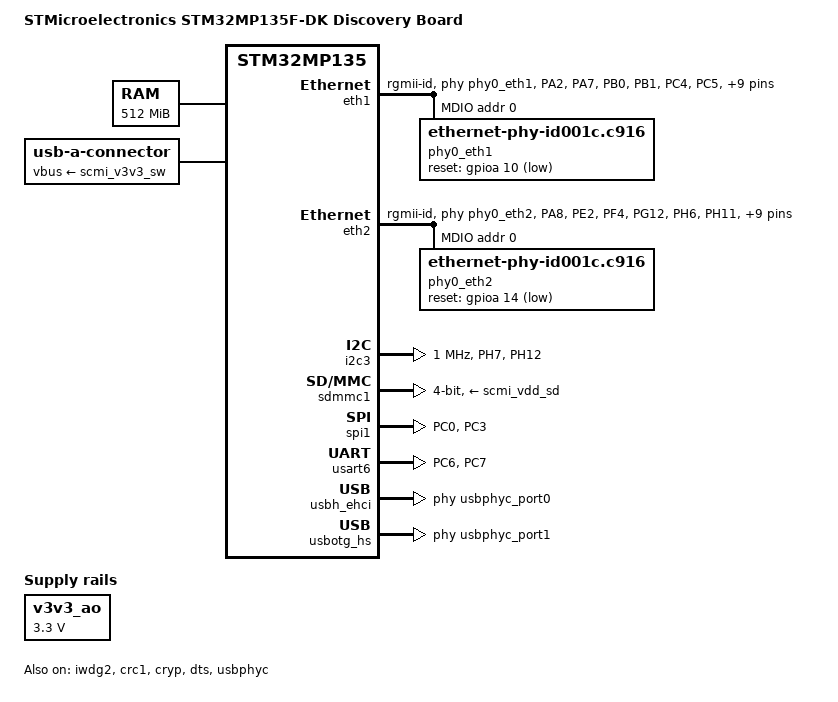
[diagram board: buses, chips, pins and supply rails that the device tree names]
// SPDX-License-Identifier: (GPL-2.0+ OR BSD-3-Clause)
/*
 * Copyright (C) STMicroelectronics 2021 - All Rights Reserved
 * Author: Alexandre Torgue <alexandre.torgue@foss.st.com> for STMicroelectronics.
 */

/dts-v1/;

#include <dt-bindings/gpio/gpio.h>
#include <dt-bindings/input/input.h>
#include <dt-bindings/leds/common.h>
#include <dt-bindings/regulator/st,stm32mp13-regulator.h>
#include <dt-bindings/rtc/rtc-stm32.h>
#include "stm32mp135.dtsi"
#include "stm32mp13xf.dtsi"
#include "stm32mp13-pinctrl.dtsi"

/ {
	model = "STMicroelectronics STM32MP135F-DK Discovery Board";
	compatible = "st,stm32mp135f-dk", "st,stm32mp135";

	aliases {
		ethernet0 = &eth1;
		ethernet1 = &eth2;
		serial0 = &usart6;
		serial1 = &usart1;
		serial2 = &uart8;
		serial3 = &usart2;

		i2c0 = &i2c3;
		spi1 = &spi1;
	};

	chosen {
		stdout-path = "serial0:115200n8";
		#address-cells = <1>;
		#size-cells = <1>;
		ranges;

		framebuffer {
			compatible = "simple-framebuffer";
			clocks = <&rcc LTDC_PX>;
			status = "okay";
		};
	};

	clocks {
	};

	memory@c0000000 {
		device_type = "memory";
		reg = <0xc0000000 0x20000000>;
	};

	reserved-memory {
		#address-cells = <1>;
		#size-cells = <1>;
		ranges;

		optee@dd000000 {
			reg = <0xdd000000 0x3000000>;
			no-map;
		};
	};

	v3v3_ao: v3v3-ao {
		compatible = "regulator-fixed";
		regulator-name = "v3v3_ao";
		regulator-min-microvolt = <3300000>;
		regulator-max-microvolt = <3300000>;
		regulator-always-on;
	};
};

&iwdg2 {
	timeout-sec = <32>;
	status = "okay";
};

&crc1 {
	status = "okay";
};

&cryp {
	status = "okay";
};

&dts {
	status = "okay";
};

&eth1 {
	status = "okay";
	pinctrl-0 = <&eth1_pins_mx>;
	pinctrl-1 = <&eth1_sleep_pins_mx>;
	pinctrl-names = "default", "sleep";
	phy-mode = "rgmii-id";
	max-speed = <100>;
	phy-handle = <&phy0_eth1>;
	nvmem-cells = <&ethernet_mac1_address>;
	nvmem-cell-names = "mac-address";

	mdio1 {
		#address-cells = <1>;
		#size-cells = <0>;
		compatible = "snps,dwmac-mdio";

		phy0_eth1: ethernet-phy@0 {
			compatible = "ethernet-phy-id001c.c916";
			reg = <0>;
			reset-assert-us = <10000>;
			reset-deassert-us = <30000>;
			reset-gpios = <&gpioa 10 GPIO_ACTIVE_LOW>;
		};
	};
};

&eth2 {
	status = "okay";
	pinctrl-0 = <&eth2_pins_mx>;
	pinctrl-1 = <&eth2_sleep_pins_mx>;
	pinctrl-names = "default", "sleep";
	phy-mode = "rgmii-id";
	max-speed = <100>;
	phy-handle = <&phy0_eth2>;
	st,ext-phyclk;
	nvmem-cells = <&ethernet_mac2_address>;
	nvmem-cell-names = "mac-address";

	mdio1 {
		#address-cells = <1>;
		#size-cells = <0>;
		compatible = "snps,dwmac-mdio";
		phy0_eth2: ethernet-phy@0 {
			compatible = "ethernet-phy-id001c.c916";
			reg = <0>;
			reset-assert-us = <10000>;
			reset-deassert-us = <30000>;
			reset-gpios = <&gpioa 14 GPIO_ACTIVE_LOW>;
		};
	};
};


&i2c3 {
	pinctrl-names = "default", "sleep";
	pinctrl-0 = <&i2c3_pins_mx>;
	pinctrl-1 = <&i2c3_sleep_pins_mx>;
	// i2c-scl-rising-time-ns = <96>;
	// i2c-scl-falling-time-ns = <3>;
	clock-frequency = <1000000>;
	status = "okay";
	// status = "disabled";
	/* spare dmas for other usage */
	/delete-property/dmas;
	/delete-property/dma-names;
};

&rtc {
	status = "disabled";
};

&scmi_regu {
	scmi_vddcpu: voltd-vddcpu {
		reg = <VOLTD_SCMI_STPMIC1_BUCK1>;
		regulator-name = "vddcpu";
	};
	scmi_vdd: voltd-vdd {
		reg = <VOLTD_SCMI_STPMIC1_BUCK3>;
		regulator-name = "vdd";
	};
	scmi_vddcore: voltd-vddcore {
		reg = <VOLTD_SCMI_STPMIC1_BUCK4>;
		regulator-name = "vddcore";
	};
	scmi_vdd_adc: voltd-vdd-adc {
		reg = <VOLTD_SCMI_STPMIC1_LDO1>;
		regulator-name = "vdd_adc";
	};
	scmi_vdd_usb: voltd-vdd-usb {
		reg = <VOLTD_SCMI_STPMIC1_LDO4>;
		regulator-name = "vdd_usb";
	};
	scmi_vdd_sd: voltd-vdd-sd {
		reg = <VOLTD_SCMI_STPMIC1_LDO5>;
		regulator-name = "vdd_sd";
	};
	scmi_v1v8_periph: voltd-v1v8-periph {
		reg = <VOLTD_SCMI_STPMIC1_LDO6>;
		regulator-name = "v1v8_periph";
	};
	scmi_v3v3_sw: voltd-v3v3-sw {
		reg = <VOLTD_SCMI_STPMIC1_PWR_SW2>;
		regulator-name = "v3v3_sw";
	};
};

&sdmmc1 {
	pinctrl-names = "default", "opendrain", "sleep";
	pinctrl-0 = <&sdmmc1_b4_pins_a &sdmmc1_clk_pins_a>;
	pinctrl-1 = <&sdmmc1_b4_od_pins_a &sdmmc1_clk_pins_a>;
	pinctrl-2 = <&sdmmc1_b4_sleep_pins_a>;
	disable-wp;
	st,neg-edge;
	bus-width = <4>;
	vmmc-supply = <&scmi_vdd_sd>;
	status = "okay";
};

/* Wifi */
// &sdmmc2 {
// 	pinctrl-names = "default", "opendrain", "sleep";
// 	pinctrl-0 = <&sdmmc2_b4_pins_a &sdmmc2_clk_pins_a>;
// 	pinctrl-1 = <&sdmmc2_b4_od_pins_a &sdmmc2_clk_pins_a>;
// 	pinctrl-2 = <&sdmmc2_b4_sleep_pins_a>;
// 	non-removable;
// 	st,neg-edge;
// 	bus-width = <4>;
// 	vmmc-supply = <&v3v3_ao>;
// 	mmc-pwrseq = <&wifi_pwrseq>;
// 	#address-cells = <1>;
// 	#size-cells = <0>;
// 	status = "disabled";

// };

&spi1 {
	pinctrl-names = "default", "sleep";
	pinctrl-0 = <&spi1_pins_mx>;
	pinctrl-1 = <&spi1_sleep_pins_mx>;
	num-cs = <1>;
	cs-gpios = <&gpioh 5 GPIO_ACTIVE_HIGH>;
	status = "okay";
};

&spi5 {
	pinctrl-names = "default", "sleep";
	pinctrl-0 = <&spi5_pins_a>;
	pinctrl-1 = <&spi5_sleep_pins_a>;
	status = "disabled";
};

&uart8 {
	pinctrl-names = "default", "sleep", "idle";
	pinctrl-0 = <&uart8_pins_a>;
	pinctrl-1 = <&uart8_sleep_pins_a>;
	pinctrl-2 = <&uart8_idle_pins_a>;
	/delete-property/dmas;
	/delete-property/dma-names;
	status = "disabled";
};

&usart6 {
	pinctrl-names = "default", "sleep", "idle";
	pinctrl-0 = <&usart6_pins_mx>;
	pinctrl-1 = <&usart6_sleep_pins_mx>;
	pinctrl-2 = <&usart6_idle_pins_mx>;
	/delete-property/dmas;
	/delete-property/dma-names;
	rx-tx-swap;
	status = "okay";

	u-boot,dm-pre-reloc;
};

&usbh_ehci {
	phys = <&usbphyc_port0>;
	status = "okay";
	#address-cells = <1>;
	#size-cells = <0>;
};

&usbotg_hs {
	phys = <&usbphyc_port1 0>;
	phy-names = "usb2-phy";
	u-boot,force-b-session-valid;
	hnp-srp-disable;
	status = "okay";
};

&usbphyc {
	status = "okay";
};

&usbphyc_port0 {
	phy-supply = <&scmi_vdd_usb>;
	st,current-boost-microamp = <1000>;
	st,decrease-hs-slew-rate;
	st,tune-hs-dc-level = <2>;
	st,enable-hs-rftime-reduction;
	st,trim-hs-current = <11>;
	st,trim-hs-impedance = <2>;
	st,tune-squelch-level = <1>;
	st,enable-hs-rx-gain-eq;
	st,no-hs-ftime-ctrl;
	st,no-lsfs-sc;

	/*
	 * Hack to keep hub active if wakeup source is enabled
	 * otherwise the hub will wakeup the port0 as soon as the v3v3_sw is disabled
	 */
	connector {
		compatible = "usb-a-connector";
		vbus-supply = <&scmi_v3v3_sw>;
	};
};

&usbphyc_port1 {
	phy-supply = <&scmi_vdd_usb>;
	st,current-boost-microamp = <1000>;
	st,decrease-hs-slew-rate;
	st,tune-hs-dc-level = <2>;
	st,enable-hs-rftime-reduction;
	st,trim-hs-current = <11>;
	st,trim-hs-impedance = <2>;
	st,tune-squelch-level = <1>;
	st,enable-hs-rx-gain-eq;
	st,no-hs-ftime-ctrl;
	st,no-lsfs-sc;
};


&pinctrl {
	eth1_pins_mx: eth1_mx-0 {
		pins1 {
			pinmux = <STM32_PINMUX('A', 2, AF11)>; /* ETH1_MDIO */
			bias-disable;
			drive-push-pull;
			slew-rate = <0>;
		};
		pins2 {
			pinmux = <STM32_PINMUX('A', 7, AF11)>, /* ETH1_RX_CTL */
					 <STM32_PINMUX('B', 0, AF11)>, /* ETH1_RXD2 */
					 <STM32_PINMUX('B', 1, AF11)>, /* ETH1_RXD3 */
					 <STM32_PINMUX('C', 4, AF11)>, /* ETH1_RXD0 */
					 <STM32_PINMUX('C', 5, AF11)>, /* ETH1_RXD1 */
					 <STM32_PINMUX('D', 7, AF10)>; /* ETH1_RX_CLK */
			bias-disable;
		};
		pins3 {
			pinmux = <STM32_PINMUX('B', 11, AF11)>, /* ETH1_TX_CTL */
					 <STM32_PINMUX('C', 1, AF11)>, /* ETH1_GTX_CLK */
					 <STM32_PINMUX('C', 2, AF11)>, /* ETH1_TXD2 */
					 <STM32_PINMUX('E', 5, AF10)>, /* ETH1_TXD3 */
					 <STM32_PINMUX('G', 2, AF11)>, /* ETH1_MDC */
					 <STM32_PINMUX('F', 12, AF11)>, /* ETH1_CLK125 */
					 <STM32_PINMUX('G', 13, AF11)>, /* ETH1_TXD0 */
					 <STM32_PINMUX('G', 14, AF11)>; /* ETH1_TXD1 */
			bias-disable;
			drive-push-pull;
			slew-rate = <2>;
		};
	};

	eth1_sleep_pins_mx: eth1_sleep_mx-0 {
		pins {
			pinmux = <STM32_PINMUX('A', 2, ANALOG)>, /* ETH1_MDIO */
					 <STM32_PINMUX('A', 7, ANALOG)>, /* ETH1_RX_CTL */
					 <STM32_PINMUX('B', 0, ANALOG)>, /* ETH1_RXD2 */
					 <STM32_PINMUX('B', 1, ANALOG)>, /* ETH1_RXD3 */
					 <STM32_PINMUX('B', 11, ANALOG)>, /* ETH1_TX_CTL */
					 <STM32_PINMUX('C', 1, ANALOG)>, /* ETH1_GTX_CLK */
					 <STM32_PINMUX('C', 2, ANALOG)>, /* ETH1_TXD2 */
					 <STM32_PINMUX('C', 4, ANALOG)>, /* ETH1_RXD0 */
					 <STM32_PINMUX('C', 5, ANALOG)>, /* ETH1_RXD1 */
					 <STM32_PINMUX('D', 7, ANALOG)>, /* ETH1_RX_CLK */
					 <STM32_PINMUX('E', 5, ANALOG)>, /* ETH1_TXD3 */
					 <STM32_PINMUX('G', 2, ANALOG)>, /* ETH1_MDC */
					 <STM32_PINMUX('F', 12, ANALOG)>, /* ETH1_CLK125 */
					 <STM32_PINMUX('G', 13, ANALOG)>, /* ETH1_TXD0 */
					 <STM32_PINMUX('G', 14, ANALOG)>; /* ETH1_TXD1 */
		};
	};

	eth2_pins_mx: eth2_mx-0 {
		pins1 {
			pinmux = <STM32_PINMUX('A', 8, AF11)>, /* ETH2_RXD3 */
					 <STM32_PINMUX('E', 2, AF10)>, /* ETH2_RXD1 */
					 <STM32_PINMUX('F', 4, AF11)>, /* ETH2_RXD0 */
					 <STM32_PINMUX('G', 12, AF12)>, /* ETH2_RX_CTL */
					 <STM32_PINMUX('H', 6, AF12)>, /* ETH2_RXD2 */
					 <STM32_PINMUX('H', 11, AF11)>; /* ETH2_RX_CLK */
			bias-disable;
		};
		pins2 {
			pinmux = <STM32_PINMUX('B', 2, AF11)>; /* ETH2_MDIO */
			bias-disable;
			drive-push-pull;
			slew-rate = <0>;
		};
		pins3 {
			pinmux = <STM32_PINMUX('E', 6, AF11)>, /* ETH2_TXD3 */
					 <STM32_PINMUX('F', 6, AF11)>, /* ETH2_TX_CTL */
					 <STM32_PINMUX('F', 7, AF11)>, /* ETH2_TXD0 */
					 <STM32_PINMUX('G', 1, AF10)>, /* ETH2_TXD2 */
					 <STM32_PINMUX('G', 3, AF10)>, /* ETH2_GTX_CLK */
					 <STM32_PINMUX('G', 5, AF10)>, /* ETH2_MDC */
					 <STM32_PINMUX('G', 11, AF10)>, /* ETH2_TXD1 */
					 <STM32_PINMUX('H', 2, AF13)>; /* ETH2_CLK125 */
			bias-disable;
			drive-push-pull;
			slew-rate = <2>;
		};
	};

	eth2_sleep_pins_mx: eth2_sleep_mx-0 {
		pins {
			pinmux = <STM32_PINMUX('A', 8, ANALOG)>, /* ETH2_RXD3 */
					 <STM32_PINMUX('B', 2, ANALOG)>, /* ETH2_MDIO */
					 <STM32_PINMUX('E', 2, ANALOG)>, /* ETH2_RXD1 */
					 <STM32_PINMUX('E', 6, ANALOG)>, /* ETH2_TXD3 */
					 <STM32_PINMUX('F', 4, ANALOG)>, /* ETH2_RXD0 */
					 <STM32_PINMUX('F', 6, ANALOG)>, /* ETH2_TX_CTL */
					 <STM32_PINMUX('F', 7, ANALOG)>, /* ETH2_TXD0 */
					 <STM32_PINMUX('G', 1, ANALOG)>, /* ETH2_TXD2 */
					 <STM32_PINMUX('G', 3, ANALOG)>, /* ETH2_GTX_CLK */
					 <STM32_PINMUX('G', 5, ANALOG)>, /* ETH2_MDC */
					 <STM32_PINMUX('H', 2, ANALOG)>, /* ETH2_CLK125 */
					 <STM32_PINMUX('G', 11, ANALOG)>, /* ETH2_TXD1 */
					 <STM32_PINMUX('G', 12, ANALOG)>, /* ETH2_RX_CTL */
					 <STM32_PINMUX('H', 6, ANALOG)>, /* ETH2_RXD2 */
					 <STM32_PINMUX('H', 11, ANALOG)>; /* ETH2_RX_CLK */
		};
	};
	
	usart6_pins_mx: usart6_mx-0 {
		u-boot,dm-pre-reloc;
		pins1 {
			u-boot,dm-pre-reloc;
			pinmux = <STM32_PINMUX('C', 6, AF7)>; /* USART6_TX */
			bias-pull-up;
		};
		pins2 {
			u-boot,dm-pre-reloc;
			pinmux = <STM32_PINMUX('C', 7, AF7)>; /* USART6_RX */
			bias-disable;
			drive-push-pull;
			slew-rate = <0>;
		};
	};

	usart6_sleep_pins_mx: usart6_sleep_mx-0 {
		pins {
			pinmux = <STM32_PINMUX('C', 6, ANALOG)>, /* USART6_TX */
					 <STM32_PINMUX('C', 7, ANALOG)>; /* USART6_RX */
		};
	};

	usart6_idle_pins_mx: usart6-idle_mx-0 {
		pins1 {
			pinmux = <STM32_PINMUX('C', 6, ANALOG)>; /* USART6_TX */
		};
		pins2 {
			pinmux = <STM32_PINMUX('C', 7, AF7)>; /* USART6_RX */
			bias-pull-up;
		};
	};


	i2c3_pins_mx: i2c3_mx-0 {
		pins {
			pinmux = <STM32_PINMUX('H', 7, AF5)>, /* I2C3_SDA */
					 <STM32_PINMUX('H', 12, AF4)>; /* I2C3_SCL */
			bias-disable;
			drive-open-drain;
			slew-rate = <0>;
		};
	};

	i2c3_sleep_pins_mx: i2c3_sleep_mx-0 {
		pins {
			pinmux = <STM32_PINMUX('H', 7, ANALOG)>, /* I2C3_SDA */
					 <STM32_PINMUX('H', 12, ANALOG)>; /* I2C3_SCL */
		};
	};

	ltdc_pins_mx: ltdc_mx-0 {
		pins1 {
			pinmux = <STM32_PINMUX('A', 12, AF14)>, /* LTDC_G6 */
					 <STM32_PINMUX('A', 15, AF11)>, /* LTDC_G7 */
					 <STM32_PINMUX('B', 3, AF14)>, /* LTDC_B2 */
					 <STM32_PINMUX('B', 5, AF13)>, /* LTDC_B6 */
					 <STM32_PINMUX('B', 6, AF14)>, /* LTDC_B7 */
					 <STM32_PINMUX('B', 9, AF14)>, /* LTDC_B1 */
					 <STM32_PINMUX('B', 12, AF13)>, /* LTDC_R3 */
					 <STM32_PINMUX('B', 14, AF13)>, /* LTDC_R0 */
					 <STM32_PINMUX('D', 1, AF14)>, /* LTDC_G2 */
					 <STM32_PINMUX('D', 4, AF11)>, /* LTDC_R1 */
					 <STM32_PINMUX('D', 5, AF13)>, /* LTDC_B0 */
					 <STM32_PINMUX('D', 9, AF11)>, /* LTDC_B5 */
					 <STM32_PINMUX('D', 10, AF9)>, /* LTDC_G5 */
					 <STM32_PINMUX('D', 13, AF14)>, /* LTDC_G4 */
					 <STM32_PINMUX('E', 1, AF11)>, /* LTDC_R4 */
					 <STM32_PINMUX('E', 7, AF14)>, /* LTDC_R5 */
					 <STM32_PINMUX('E', 12, AF9)>, /* LTDC_VSYNC */
					 <STM32_PINMUX('F', 0, AF13)>, /* LTDC_R6 */
					 <STM32_PINMUX('F', 1, AF14)>, /* LTDC_G1 */
					 <STM32_PINMUX('F', 5, AF9)>, /* LTDC_G0 */
					 <STM32_PINMUX('G', 6, AF14)>, /* LTDC_R7 */
					 <STM32_PINMUX('G', 7, AF14)>, /* LTDC_R2 */
					 <STM32_PINMUX('G', 15, AF14)>, /* LTDC_B3 */
					 <STM32_PINMUX('H', 9, AF11)>, /* LTDC_DE */
					 <STM32_PINMUX('H', 10, AF13)>, /* LTDC_HSYNC */
					 <STM32_PINMUX('H', 13, AF13)>, /* LTDC_G3 */
					 <STM32_PINMUX('H', 14, AF11)>; /* LTDC_B4 */
			bias-disable;
			drive-push-pull;
			slew-rate = <0>;
		};
		pins2 {
			pinmux = <STM32_PINMUX('B', 15, AF13)>; /* LTDC_CLK */
			bias-disable;
			drive-push-pull;
			slew-rate = <1>;
		};
	};

	ltdc_sleep_pins_mx: ltdc_sleep_mx-0 {
		pins {
			pinmux = <STM32_PINMUX('A', 12, ANALOG)>, /* LTDC_G6 */
					 <STM32_PINMUX('A', 15, ANALOG)>, /* LTDC_G7 */
					 <STM32_PINMUX('B', 3, ANALOG)>, /* LTDC_B2 */
					 <STM32_PINMUX('B', 5, ANALOG)>, /* LTDC_B6 */
					 <STM32_PINMUX('B', 6, ANALOG)>, /* LTDC_B7 */
					 <STM32_PINMUX('B', 9, ANALOG)>, /* LTDC_B1 */
					 <STM32_PINMUX('B', 12, ANALOG)>, /* LTDC_R3 */
					 <STM32_PINMUX('B', 14, ANALOG)>, /* LTDC_R0 */
					 <STM32_PINMUX('B', 15, ANALOG)>, /* LTDC_CLK */
					 <STM32_PINMUX('D', 1, ANALOG)>, /* LTDC_G2 */
					 <STM32_PINMUX('D', 4, ANALOG)>, /* LTDC_R1 */
					 <STM32_PINMUX('D', 5, ANALOG)>, /* LTDC_B0 */
					 <STM32_PINMUX('D', 9, ANALOG)>, /* LTDC_B5 */
					 <STM32_PINMUX('D', 10, ANALOG)>, /* LTDC_G5 */
					 <STM32_PINMUX('D', 13, ANALOG)>, /* LTDC_G4 */
					 <STM32_PINMUX('E', 1, ANALOG)>, /* LTDC_R4 */
					 <STM32_PINMUX('E', 7, ANALOG)>, /* LTDC_R5 */
					 <STM32_PINMUX('E', 12, ANALOG)>, /* LTDC_VSYNC */
					 <STM32_PINMUX('F', 0, ANALOG)>, /* LTDC_R6 */
					 <STM32_PINMUX('F', 1, ANALOG)>, /* LTDC_G1 */
					 <STM32_PINMUX('F', 5, ANALOG)>, /* LTDC_G0 */
					 <STM32_PINMUX('G', 6, ANALOG)>, /* LTDC_R7 */
					 <STM32_PINMUX('G', 7, ANALOG)>, /* LTDC_R2 */
					 <STM32_PINMUX('G', 15, ANALOG)>, /* LTDC_B3 */
					 <STM32_PINMUX('H', 9, ANALOG)>, /* LTDC_DE */
					 <STM32_PINMUX('H', 10, ANALOG)>, /* LTDC_HSYNC */
					 <STM32_PINMUX('H', 13, ANALOG)>, /* LTDC_G3 */
					 <STM32_PINMUX('H', 14, ANALOG)>; /* LTDC_B4 */
		};
	};
	spi1_pins_mx: spi1_mx-0 {
		pins {
			pinmux = <STM32_PINMUX('C', 0, AF6)>, /* SPI1_MOSI */
					 <STM32_PINMUX('C', 3, AF6)>; /* SPI1_SCK */
			bias-disable;
			drive-push-pull;
			slew-rate = <1>;
		};
	};

	spi1_sleep_pins_mx: spi1_sleep_mx-0 {
		pins {
			pinmux = <STM32_PINMUX('C', 0, ANALOG)>, /* SPI1_MOSI */
					 <STM32_PINMUX('C', 3, ANALOG)>; /* SPI1_SCK */
		};
	};
};
